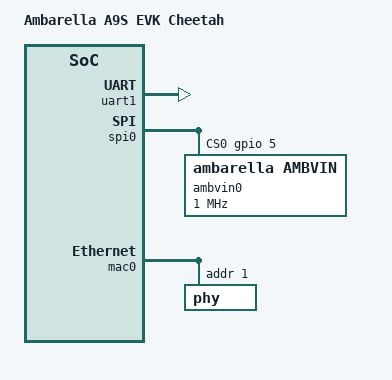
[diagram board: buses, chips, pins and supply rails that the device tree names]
/*
 * Copyright (C) 2013 Ambarella,Inc. - http://www.ambarella.com/
 * Author: Cao Rongrong <rrcao@ambarella.com>
 *
 * This program is free software; you can redistribute it and/or modify
 * it under the terms of the GNU General Public License version 2 as
 * published by the Free Software Foundation.
 */
/dts-v1/;

/include/ "ambarella-a9s.dtsi"

/ {
	model = "Ambarella A9S EVK Cheetah";
	compatible = "ambarella,s2e";

	chosen {
                /* For pure linux set uart0. */
		linux,stdout-path = &uart1;
	};

	apb@70000000 {
		uart0: uart@70005000 {
                        /* For pure linux set status to "ok". */
			status = "disabled";
			pinctrl-names = "default";
			pinctrl-0 = <&uart0_pins>;
			/* amb,tx-fifo-fix; */
		};

		uart1: uart@7001f000 {
			pinctrl-names = "default";
			pinctrl-0 = <&uart1_4pins>;
			status = "ok";
			/* amb,tx-fifo-fix; */
		};

		uart2: uart@70014000 {
			status = "disabled";
			pinctrl-names = "default";
			pinctrl-0 = <&uart2_pins>;
			amb,msr-used;	/* use Modem Status Register */
			/* amb,tx-fifo-fix; */
		};

		uart3: uart@70015000 {
			status = "disabled";
			amb,msr-used;	/* use Modem Status Register */
			/* amb,tx-fifo-fix; */
		};

		rtc@7000d000 {
			status = "ok";
		};

		i2c0: i2c@70003000 {
			status = "disabled";
	        };

		i2c1: i2c@70007000 {
			status = "disabled";
	        };

		i2c2: i2c@70013000 {
			status = "disabled";

			pca9539: pca9539@74 {
				compatible = "nxp,pca9539";
				reg = <0x74>;
				interrupt-parent = <&gpio>;
				interrupts = <11 0x0>;
				gpio-controller;
				#gpio-cells = <2>;
				interrupt-controller;
				#interrupt-cells = <2>;
			};

			isl12022m: isl12022m@6f {
				compatible = "isl12022";
				reg = <0x6f>;
			};
	        };

		spi0: spi@70002000 {
			cs-gpios = <&gpio 5 0>, <&gpio 6 0>;

			ambvin0@0 {
				compatible = "ambarella,ambvin";
				reg = <0>;
				spi-max-frequency = <1000000>;
				spi-cpha;
				spi-cpol;
			};
		};

		ir@70006000 {
			amb,protocol = <1>;
			amb,keymap =
				<0x0100bcbd 116>, /* KEY_POWER */
				<0x01000405 115>, /* KEY_VOLUMEUP */
				<0x01008485 114>; /* KEY_VOLUMEDOWN */
			/* amb,print-key; */
		};
	};

	ahb@60000000 {
		sdmmc0@60002000 {
                        /* For pure linux set status to "ok". */
			status = "disabled";

			slot@0 {
				pwr-gpios = <&pca9539 0 0x1>;
				v18-gpios = <&gpio 22 0x0>;
				max-frequency = <128000000>;
			};
		};

		sdmmc1@6000c000 {
			slot@0 {
				bus-width = <4>;
				no-1-8-v;
			};
		};

		mac0: ethernet@6000e000 {
			status = "ok";

			phy@1 {
				reg = <1>;
			};
		};
	};

	rct@70170000 {
		usbphy: usbphy@70170050 {
			/* low will trigger the ocp interrupt */
			amb,ocp-polarity = <0>;
			pinctrl-names = "default";
			pinctrl-0 = <&usb_host_pins>;
		};
	};

};

